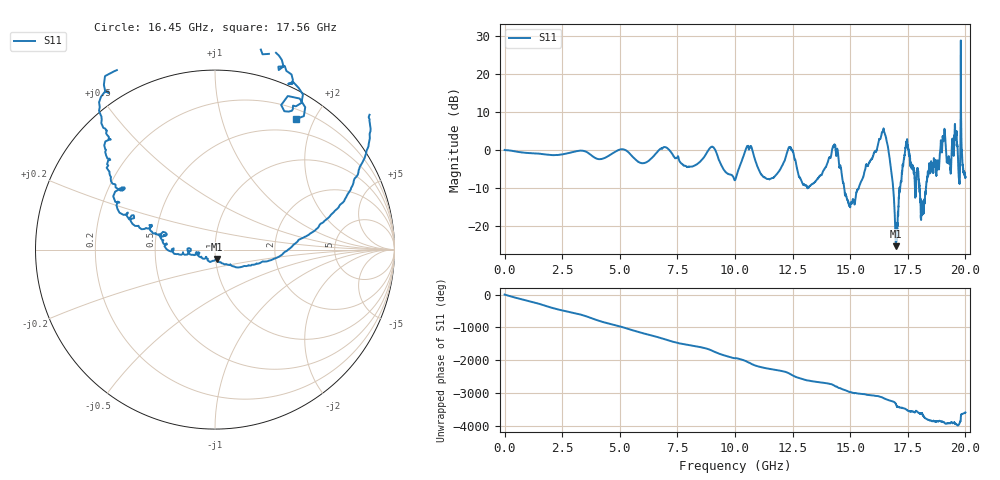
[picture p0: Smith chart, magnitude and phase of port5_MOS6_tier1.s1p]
! Created with skrf 1.8.0 (http://scikit-rf.org).
# GHz S RI R 50.0
!freq ReS11 ImS11
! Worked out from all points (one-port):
!   10001 points, 1 MHz to 20 GHz, reference 50 ohm
!   lowest |S11| = -25.4 dB at 16.98 GHz (marker M1), VSWR 1.11, Z = 50.7 - j5.39 ohm
!   |S11| at or under -10 dB: 14.74 GHz to 15.37 GHz (633.4 MHz wide, 4.21 % of centre); 16.86 GHz to 17.14 GHz (276.6 MHz wide, 1.63 % of centre); 18.01 GHz to 18.29 GHz (276.9 MHz wide, 1.53 % of centre) (the widest 3 of 6)
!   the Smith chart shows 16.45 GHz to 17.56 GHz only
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0.001  0.9967 -0.00609
0.8729564  -0.8918 -0.2162
1.40493  -0.1127 0.8904
1.826909  0.863 0.0796
2.500875  -0.4657 -0.7383
3.342833  -0.216 0.9521
3.750812  0.8503 0.1008
4.228789  -0.2266 -0.7288
5.00075  -0.3887 0.9317
5.506725  0.8445 0.0745
6.576671  -0.8464 0.3129
6.948653  0.1764 1.076
7.500625  0.7362 -0.314
8.678566  -0.817 0.0817
9.014549  -0.04 1.103
10.0005  -0.2744 -0.2919
10.60047  -0.0331 1.012
11.34243  0.0825 -0.4136
12.23639  -0.8325 0.2941
12.50038  0.3898 0.8863
12.97835  0.1758 -0.3018
14.35828  0.0437 1.099
15.00025  0.0235 -0.1734
15.9302  -0.7509 0.0362
16.45218  -0.0844 1.904
16.97815  0.0102 -0.0529
17.50013  0.3397 1.097
20  0.4169 0.1326
